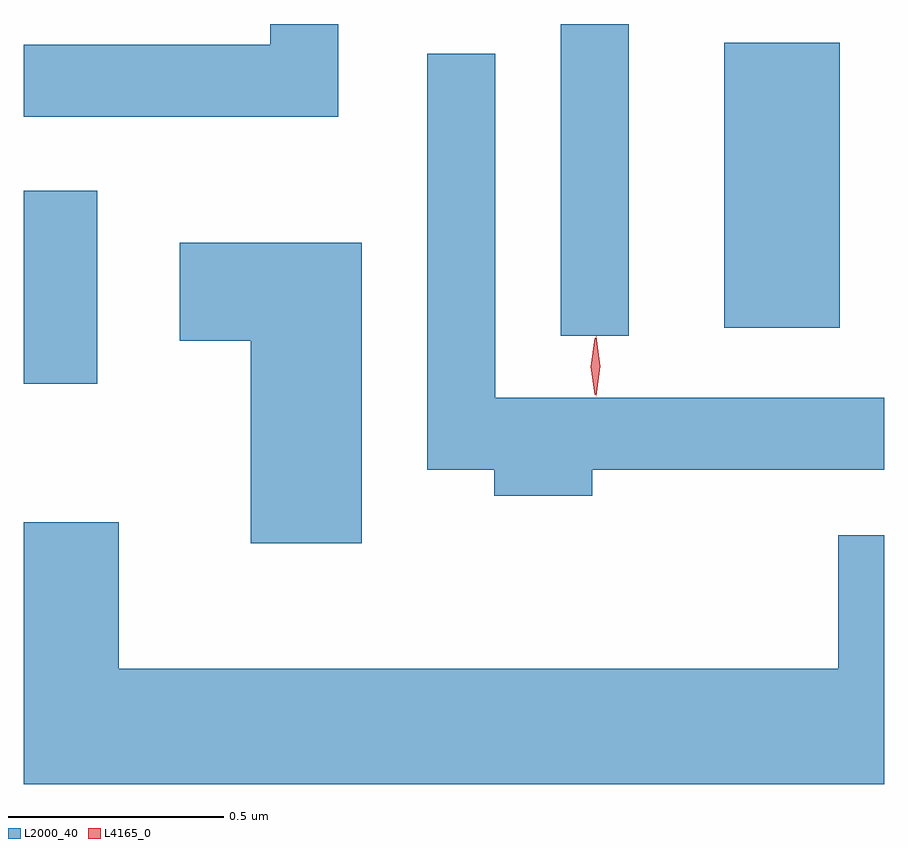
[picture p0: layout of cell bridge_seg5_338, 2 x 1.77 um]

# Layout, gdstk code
import gdstk
lib = gdstk.Library(unit=1e-6, precision=1e-09)
def R(c, l, rs):  # rectangles x0, y0, x1, y1
    for r in rs: c.add(gdstk.rectangle(r[:2], r[2:], *l))
def P(c, l, *ps):  # polygons
    for p in ps: c.add(gdstk.Polygon(p, *l))
L2000_40 = (2000, 40)
L4165_0 = (4165, 0)

bridge_seg5_338 = lib.new_cell('bridge_seg5_338')
R(bridge_seg5_338, L2000_40, [(690.188,1508.786,690.359,1509.234), (691.436,1508.898,691.594,1509.622), (691.816,1508.916,692.084,1509.579)])
P(bridge_seg5_338, L2000_40, [(690.919,1509.622),(690.761,1509.622),(690.761,1509.574),(690.188,1509.574),(690.188,1509.406),(690.919,1509.406)],
  [(691.509,1508.586),(692.188,1508.586),(692.188,1508.754),(691.284,1508.754),(691.284,1509.553),(691.126,1509.553),(691.126,1508.586),(691.281,1508.586),(691.281,1508.526),(691.509,1508.526)],
  [(690.974,1509.114),(690.551,1509.114),(690.551,1508.886),(690.716,1508.886),(690.716,1508.416),(690.974,1508.416)],
  [(692.188,1508.434),(692.081,1508.434),(692.081,1508.124),(690.409,1508.124),(690.409,1508.464),(690.188,1508.464),(690.188,1507.856),(692.188,1507.856)])
P(bridge_seg5_338, L4165_0, [(691.518,1508.757),(691.518,1508.757),(691.508,1508.827),(691.518,1508.896),(691.518,1508.896),(691.518,1508.896),(691.528,1508.827),(691.518,1508.757)],
  [(691.515,1508.76),(691.506,1508.826),(691.515,1508.892),(691.516,1508.893),(691.516,1508.892),(691.526,1508.826),(691.516,1508.76),(691.516,1508.76)])

lib.write_gds('bridge_seg5_338.gds')
